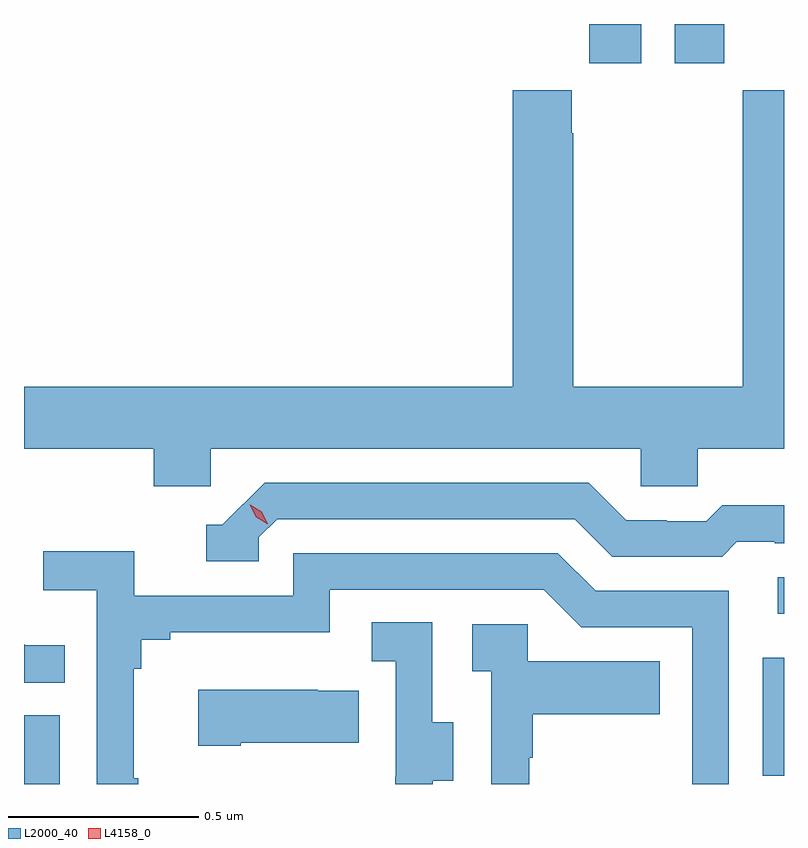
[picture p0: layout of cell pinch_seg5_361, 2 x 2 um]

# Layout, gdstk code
import gdstk
lib = gdstk.Library(unit=1e-6, precision=1e-09)
def R(c, l, rs):  # rectangles x0, y0, x1, y1
    for r in rs: c.add(gdstk.rectangle(r[:2], r[2:], *l))
def P(c, l, *ps):  # polygons
    for p in ps: c.add(gdstk.Polygon(p, *l))
L2000_40 = (2000, 40)
L4158_0 = (4158, 0)

pinch_seg5_361 = lib.new_cell('pinch_seg5_361')
R(pinch_seg5_361, L2000_40, [(969.936,881.186,970.03,881.367), (971.88,881.208,971.936,881.518), (971.919,881.634,971.936,881.73), (971.423,883.083,971.56,883.186), (971.648,883.083,971.779,883.186)])
P(pinch_seg5_361, L2000_40, [(970.428,882.068),(971.559,882.068),(971.559,881.97),(971.709,881.97),(971.709,882.068),(971.936,882.068),(971.936,883.012),(971.827,883.012),(971.827,882.232),(971.382,882.232),(971.382,882.899),(971.377,882.899),(971.377,883.012),(971.222,883.012),(971.222,882.232),(969.936,882.232),(969.936,882.068),(970.277,882.068),(970.277,881.97),(970.428,881.97)],
  [(970.554,881.835),(970.602,881.883),(971.385,881.883),(971.484,881.784),(971.773,881.784),(971.812,881.823),(971.911,881.823),(971.911,881.82),(971.936,881.82),(971.936,881.92),(971.773,881.92),(971.731,881.877),(971.628,881.877),(971.628,881.88),(971.521,881.88),(971.422,881.979),(970.569,881.979),(970.458,881.868),(970.415,881.868),(970.415,881.772),(970.554,881.772)],
  [(970.237,881.201),(970.225,881.201),(970.225,881.489),(970.244,881.489),(970.244,881.566),(970.321,881.566),(970.321,881.585),(970.74,881.585),(970.74,881.697),(971.304,881.697),(971.403,881.598),(971.694,881.598),(971.694,881.186),(971.79,881.186),(971.79,881.694),(971.44,881.694),(971.341,881.793),(970.644,881.793),(970.644,881.682),(970.226,881.682),(970.226,881.798),(969.987,881.798),(969.987,881.696),(970.128,881.696),(970.128,881.186),(970.237,881.186)],
  [(971.011,881.194),(971.065,881.194),(971.065,881.349),(971.01,881.349),(971.01,881.612),(970.851,881.612),(970.851,881.509),(970.914,881.509),(970.914,881.205),(970.913,881.205),(970.913,881.186),(971.011,881.186)],
  [(971.265,881.255),(971.275,881.255),(971.275,881.369),(971.609,881.369),(971.609,881.509),(971.262,881.509),(971.262,881.607),(971.115,881.607),(971.115,881.483),(971.166,881.483),(971.166,881.186),(971.265,881.186)],
  [(970.043,881.551),(969.939,881.551),(969.936,881.554),(969.936,881.452),(970.043,881.452)],
  [(970.507,881.294),(970.817,881.294),(970.817,881.431),(970.709,881.431),(970.709,881.434),(970.395,881.434),(970.395,881.287),(970.507,881.287)])
P(pinch_seg5_361, L4158_0, [(970.578,881.869),(970.547,881.888),(970.53,881.921),(970.53,881.921),(970.531,881.921),(970.562,881.902),(970.578,881.869),(970.578,881.869)])

lib.write_gds('pinch_seg5_361.gds')
